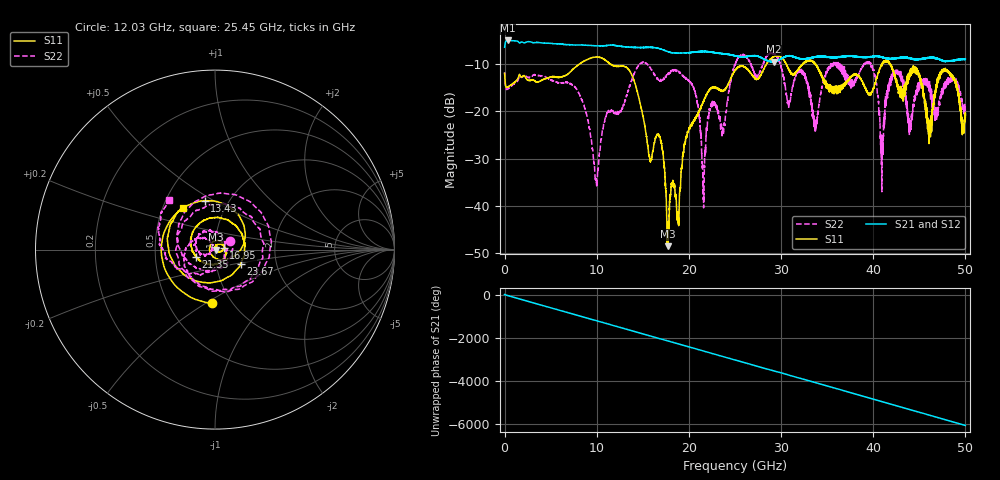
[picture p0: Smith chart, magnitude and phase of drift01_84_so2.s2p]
!Created with skrf (http://scikit-rf.org).
# Hz S RI R 50.0
!freq ReS11 ImS11 ReS21 ImS21 ReS12 ImS12 ReS22 ImS22
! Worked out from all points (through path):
!   10001 points, 300 kHz to 50 GHz, reference 50 ohm
!   highest |S21| = -5.05 dB at 325.3 MHz (marker M1); lowest = -9.6 dB at 29.19 GHz (marker M2)
!   group delay of S21, straight-line fit = 336 ps
!   lowest |S11| = -48.5 dB at 17.7 GHz (marker M3), VSWR 1.01, Z = 50.4 - j0.0646 ohm
!   |S11| at or under -10 dB: start of sweep to 8.151 GHz; 11.43 GHz to 28.41 GHz (16.99 GHz wide, 85.3 % of centre); 41.84 GHz to end of sweep (the widest 3 of 11)
!   |S22| runs from -40.4 to -7.6 dB; largest |S21 - S12| = 0.016
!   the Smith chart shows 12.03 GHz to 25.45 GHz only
!   S11 on the Smith chart (normalised r, x): 12.03 GHz: 0.81, -0.53; 13.43 GHz: 0.77, +0.46; 16.95 GHz: 1.10, +0.02; 21.35 GHz: 0.80, -0.06; 23.67 GHz: 1.31, -0.22; 25.45 GHz: 0.63, +0.32
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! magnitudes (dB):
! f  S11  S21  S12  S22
! 300 kHz  -12.0  -6.5  -6.5  -11.8
! 325.3 MHz  -14.9  -5.0  -5.1  -15.3
! 8.335 GHz  -9.7  -6.0  -6.0  -17.4
! 9.95 GHz  -8.5  -6.2  -6.2  -35.0
! 12.03 GHz  -10.5  -6.1  -6.1  -20.4
! 13.43 GHz  -11.1  -6.5  -6.5  -15.6
! 15.76 GHz  -30.2  -6.5  -6.5  -10.7
! 16.67 GHz  -24.9  -6.7  -6.7  -13.3
! 16.95 GHz  -26.3  -6.9  -6.8  -13.3
! 17.7 GHz  -48.5  -7.4  -7.4  -12.3
! 20.43 GHz  -22.5  -7.6  -7.6  -14.9
! 21.35 GHz  -18.9  -7.4  -7.4  -26.1
! 23.67 GHz  -15.6  -7.9  -7.8  -23.4
! 25 GHz  -11.4  -8.3  -8.3  -10.1
! 25.45 GHz  -10.6  -8.4  -8.4  -8.5
! 29.19 GHz  -8.5  -9.6  -9.5  -7.8
! 33.34 GHz  -9.4  -8.7  -8.7  -19.1
! 39.49 GHz  -16.1  -8.5  -8.6  -9.8
! 40.97 GHz  -10.1  -8.6  -8.6  -27.7
! 41.67 GHz  -9.5  -8.7  -8.9  -14.3
! 48.04 GHz  -11.6  -9.3  -9.4  -13.7
! 50 GHz  -21.2  -9.0  -9.1  -20.0
